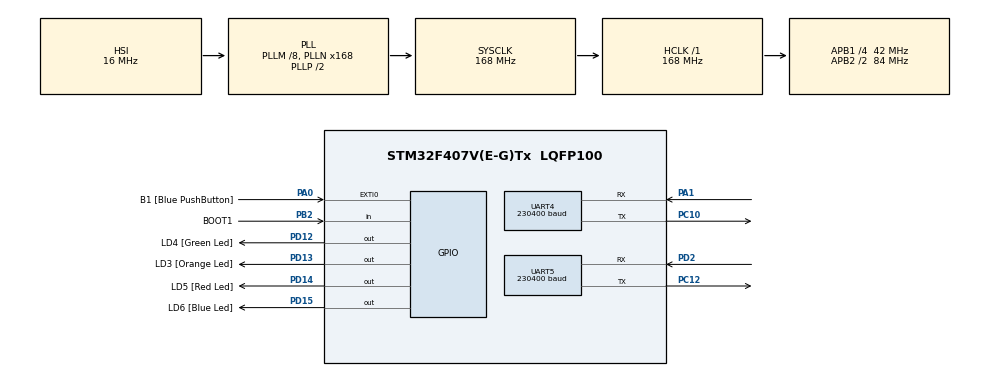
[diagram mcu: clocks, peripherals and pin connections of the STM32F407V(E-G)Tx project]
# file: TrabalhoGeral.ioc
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ADC1.Channel-0\#ChannelRegularConversion=ADC_CHANNEL_TEMPSENSOR
ADC1.Channel-1\#ChannelRegularConversion=ADC_CHANNEL_VREFINT
ADC1.ClockPrescaler=ADC_CLOCK_SYNC_PCLK_DIV4
ADC1.ContinuousConvMode=ENABLE
ADC1.DMAContinuousRequests=ENABLE
ADC1.NbrOfConversion=2
ADC1.NbrOfConversionFlag=1
ADC1.Rank-0\#ChannelRegularConversion=1
ADC1.Rank-1\#ChannelRegularConversion=2
ADC1.SamplingTime-0\#ChannelRegularConversion=ADC_SAMPLETIME_480CYCLES
ADC1.SamplingTime-1\#ChannelRegularConversion=ADC_SAMPLETIME_480CYCLES
ADC1.ScanConvMode=ENABLE
ADC1.master=1
Dma.ADC1.4.Direction=DMA_PERIPH_TO_MEMORY
Dma.ADC1.4.FIFOMode=DMA_FIFOMODE_DISABLE
Dma.ADC1.4.Instance=DMA2_Stream0
Dma.ADC1.4.MemDataAlignment=DMA_MDATAALIGN_HALFWORD
Dma.ADC1.4.MemInc=DMA_MINC_ENABLE
Dma.ADC1.4.Mode=DMA_CIRCULAR
Dma.ADC1.4.PeriphDataAlignment=DMA_PDATAALIGN_HALFWORD
Dma.ADC1.4.PeriphInc=DMA_PINC_DISABLE
Dma.ADC1.4.Priority=DMA_PRIORITY_LOW
Dma.Request0=UART4_RX
Dma.Request1=UART4_TX
Dma.Request2=UART5_RX
Dma.Request3=UART5_TX
Dma.Request4=ADC1
Dma.UART4_RX.0.Direction=DMA_PERIPH_TO_MEMORY
Dma.UART4_RX.0.FIFOMode=DMA_FIFOMODE_DISABLE
Dma.UART4_RX.0.Instance=DMA1_Stream2
Dma.UART4_RX.0.MemDataAlignment=DMA_MDATAALIGN_BYTE
Dma.UART4_RX.0.MemInc=DMA_MINC_ENABLE
Dma.UART4_RX.0.Mode=DMA_NORMAL
Dma.UART4_RX.0.PeriphDataAlignment=DMA_PDATAALIGN_BYTE
Dma.UART4_RX.0.PeriphInc=DMA_PINC_DISABLE
Dma.UART4_RX.0.Priority=DMA_PRIORITY_LOW
Dma.UART4_TX.1.Direction=DMA_MEMORY_TO_PERIPH
Dma.UART4_TX.1.FIFOMode=DMA_FIFOMODE_DISABLE
Dma.UART4_TX.1.Instance=DMA1_Stream4
Dma.UART4_TX.1.MemDataAlignment=DMA_MDATAALIGN_BYTE
Dma.UART4_TX.1.MemInc=DMA_MINC_ENABLE
Dma.UART4_TX.1.Mode=DMA_NORMAL
Dma.UART4_TX.1.PeriphDataAlignment=DMA_PDATAALIGN_BYTE
Dma.UART4_TX.1.PeriphInc=DMA_PINC_DISABLE
Dma.UART4_TX.1.Priority=DMA_PRIORITY_LOW
Dma.UART5_RX.2.Direction=DMA_PERIPH_TO_MEMORY
Dma.UART5_RX.2.FIFOMode=DMA_FIFOMODE_DISABLE
Dma.UART5_RX.2.Instance=DMA1_Stream0
Dma.UART5_RX.2.MemDataAlignment=DMA_MDATAALIGN_BYTE
Dma.UART5_RX.2.MemInc=DMA_MINC_ENABLE
Dma.UART5_RX.2.Mode=DMA_NORMAL
Dma.UART5_RX.2.PeriphDataAlignment=DMA_PDATAALIGN_BYTE
Dma.UART5_RX.2.PeriphInc=DMA_PINC_DISABLE
Dma.UART5_RX.2.Priority=DMA_PRIORITY_LOW
Dma.UART5_TX.3.Direction=DMA_MEMORY_TO_PERIPH
Dma.UART5_TX.3.FIFOMode=DMA_FIFOMODE_DISABLE
Dma.UART5_TX.3.Instance=DMA1_Stream7
Dma.UART5_TX.3.MemDataAlignment=DMA_MDATAALIGN_BYTE
Dma.UART5_TX.3.MemInc=DMA_MINC_ENABLE
Dma.UART5_TX.3.Mode=DMA_NORMAL
Dma.UART5_TX.3.PeriphDataAlignment=DMA_PDATAALIGN_BYTE
Dma.UART5_TX.3.PeriphInc=DMA_PINC_DISABLE
Dma.UART5_TX.3.Priority=DMA_PRIORITY_LOW
FREERTOS.Tasks01=defaultTask,8,128,StartDefaultTask,Default,NULL,Dynamic,NULL,NULL;periodic100hz,24,1024,periodic_task,Default,NULL,Dynamic,NULL,NULL;buttonHandler,16,1024,button_task,Default,NULL,Dynamic,NULL,NULL;asynchronousR,32,1024,asynchronousR_task,Default,NULL,Dynamic,NULL,NULL;asynchronousL,40,1024,asynchronousL_task,Default,NULL,Dynamic,NULL,NULL
FREERTOS.configCHECK_FOR_STACK_OVERFLOW=2
FREERTOS.configTOTAL_HEAP_SIZE=20000
FREERTOS.configUSE_MALLOC_FAILED_HOOK=1
FREERTOS.configUSE_NEWLIB_REENTRANT=1
Mcu.Family=STM32F4
Mcu.Name=STM32F407V(E-G)Tx
Mcu.Package=LQFP100
NVIC.DMA1_Stream0_IRQn=true\:5\:0\:false\:false\:true\:true\:false\:true\:true
NVIC.DMA1_Stream2_IRQn=true\:5\:0\:false\:false\:true\:true\:false\:true\:true
NVIC.DMA1_Stream4_IRQn=true\:5\:0\:false\:false\:true\:true\:false\:true\:true
NVIC.DMA1_Stream7_IRQn=true\:5\:0\:false\:false\:true\:true\:false\:true\:true
NVIC.DMA2_Stream0_IRQn=true\:5\:0\:false\:false\:true\:true\:false\:true\:true
NVIC.EXTI0_IRQn=true\:5\:0\:false\:false\:true\:true\:true\:true\:true
NVIC.PriorityGroup=NVIC_PRIORITYGROUP_4
NVIC.TIM6_DAC_IRQn=true\:15\:0\:false\:false\:true\:false\:false\:true\:true
NVIC.TimeBase=TIM6_DAC_IRQn
NVIC.TimeBaseIP=TIM6
NVIC.UART4_IRQn=true\:5\:0\:false\:false\:true\:true\:true\:true\:true
NVIC.UART5_IRQn=true\:5\:0\:false\:false\:true\:true\:true\:true\:true
PA0-WKUP.GPIO_Label=B1 [Blue PushButton]
PA0-WKUP.Signal=GPXTI0
PA1.Mode=Asynchronous
PA1.Signal=UART4_RX
PA13.GPIO_Label=SWDIO
PA13.Signal=SYS_JTMS-SWDIO
PA14.GPIO_Label=SWCLK
PA14.Signal=SYS_JTCK-SWCLK
PB2.GPIO_Label=BOOT1
PB2.GPIO_Mode=GPIO_MODE_INPUT
PB2.GPIO_PuPd=GPIO_NOPULL
PB2.Signal=GPIO_Input
PC10.Mode=Asynchronous
PC10.Signal=UART4_TX
PC12.Mode=Asynchronous
PC12.Signal=UART5_TX
PD12.GPIO_Label=LD4 [Green Led]
PD12.GPIO_PuPd=GPIO_NOPULL
PD12.GPIO_Speed=GPIO_SPEED_FREQ_LOW
PD12.Signal=GPIO_Output
PD13.GPIO_Label=LD3 [Orange Led]
PD13.GPIO_PuPd=GPIO_NOPULL
PD13.GPIO_Speed=GPIO_SPEED_FREQ_LOW
PD13.Signal=GPIO_Output
PD14.GPIO_Label=LD5 [Red Led]
PD14.GPIO_PuPd=GPIO_NOPULL
PD14.GPIO_Speed=GPIO_SPEED_FREQ_LOW
PD14.Signal=GPIO_Output
PD15.GPIO_Label=LD6 [Blue Led]
PD15.GPIO_PuPd=GPIO_NOPULL
PD15.GPIO_Speed=GPIO_SPEED_FREQ_LOW
PD15.Signal=GPIO_Output
PD2.Mode=Asynchronous
PD2.Signal=UART5_RX
ProjectManager.HeapSize=0x200
ProjectManager.StackSize=0x400
ProjectManager.TargetToolchain=STM32CubeIDE
RCC.48MHZClocksFreq_Value=48000000
RCC.AHBFreq_Value=168000000
RCC.APB1CLKDivider=RCC_HCLK_DIV4
RCC.APB1Freq_Value=42000000
RCC.APB1TimFreq_Value=84000000
RCC.APB2CLKDivider=RCC_HCLK_DIV2
RCC.APB2Freq_Value=84000000
RCC.APB2TimFreq_Value=168000000
RCC.CortexFreq_Value=168000000
RCC.HCLKFreq_Value=168000000
RCC.HSE_VALUE=8000000
RCC.HSI_VALUE=16000000
RCC.LSE_VALUE=32768
RCC.PLLM=8
RCC.PLLN=168
RCC.PLLQ=7
RCC.SYSCLKFreq_VALUE=168000000
RCC.SYSCLKSource=RCC_SYSCLKSOURCE_PLLCLK
RCC.VCOOutputFreq_Value=336000000
UART4.BaudRate=230400
UART4.VirtualMode=Asynchronous
UART5.BaudRate=230400
UART5.VirtualMode=Asynchronous
VP_ADC1_TempSens_Input.Mode=IN-TempSens
VP_ADC1_Vref_Input.Mode=IN-Vrefint
VP_FREERTOS_VS_CMSIS_V2.Mode=CMSIS_V2
VP_SYS_VS_tim6.Mode=TIM6
board=STM32F407G-DISC1

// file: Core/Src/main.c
/* USER CODE BEGIN Header */
/**
  ******************************************************************************
  * @file           : main.c
  * @brief          : Main program body
  ******************************************************************************
  * @attention
  *
  * Copyright (c) 2023 STMicroelectronics.
  * All rights reserved.
  *
  * This software is licensed under terms that can be found in the LICENSE file
  * in the root directory of this software component.
  * If no LICENSE file comes with this software, it is provided AS-IS.
  *
  ******************************************************************************
  */
/* USER CODE END Header */
#include "main.h"
#include "cmsis_os.h"
#include "adc.h"
#include "dma.h"
#include "usart.h"
#include "gpio.h"

/* USER CODE BEGIN Includes */
#include "Uart.h"
#include "Sensor.h"
#include "Button.h"
/* USER CODE END Includes */

void SystemClock_Config(void);
void MX_FREERTOS_Init(void);

int main(void)
{

  /* MCU Configuration--------------------------------------------------------*/

  /* Reset of all peripherals, Initializes the Flash interface and the Systick. */
  HAL_Init();

  /* Configure the system clock */
  SystemClock_Config();

  /* Initialize all configured peripherals */
  MX_GPIO_Init();
  MX_DMA_Init();
  MX_UART4_Init();
  MX_UART5_Init();
  MX_ADC1_Init();
  /* USER CODE BEGIN 2 */
  Uart_init(&uartLeft);
  Uart_init(&uartRight);

  // inicialização rotinas sensor
  Sensor_Init();
  Button_Init();
  // inicialização DMA para o ADC1
  HAL_ADC_Start_DMA(&hadc1, (uint32_t *)adc_reads, 2);

  /* USER CODE END 2 */

  /* Init scheduler */
  osKernelInitialize();  /* Call init function for freertos objects (in freertos.c) */
  MX_FREERTOS_Init();

  /* Start scheduler */
  osKernelStart();
  /* We should never get here as control is now taken by the scheduler */
  /* Infinite loop */
  while (1)
  {

  }
}

void SystemClock_Config(void)
{
  RCC_OscInitTypeDef RCC_OscInitStruct = {0};
  RCC_ClkInitTypeDef RCC_ClkInitStruct = {0};

  /** Configure the main internal regulator output voltage
  */
  __HAL_RCC_PWR_CLK_ENABLE();
  __HAL_PWR_VOLTAGESCALING_CONFIG(PWR_REGULATOR_VOLTAGE_SCALE1);

  /** Initializes the RCC Oscillators according to the specified parameters
  * in the RCC_OscInitTypeDef structure.
  */
  RCC_OscInitStruct.OscillatorType = RCC_OSCILLATORTYPE_HSI;
  RCC_OscInitStruct.HSIState = RCC_HSI_ON;
  RCC_OscInitStruct.HSICalibrationValue = RCC_HSICALIBRATION_DEFAULT;
  RCC_OscInitStruct.PLL.PLLState = RCC_PLL_ON;
  RCC_OscInitStruct.PLL.PLLSource = RCC_PLLSOURCE_HSI;
  RCC_OscInitStruct.PLL.PLLM = 8;
  RCC_OscInitStruct.PLL.PLLN = 168;
  RCC_OscInitStruct.PLL.PLLP = RCC_PLLP_DIV2;
  RCC_OscInitStruct.PLL.PLLQ = 7;
  if (HAL_RCC_OscConfig(&RCC_OscInitStruct) != HAL_OK)
  {
    Error_Handler();
  }

  /** Initializes the CPU, AHB and APB buses clocks
  */
  RCC_ClkInitStruct.ClockType = RCC_CLOCKTYPE_HCLK|RCC_CLOCKTYPE_SYSCLK
                              |RCC_CLOCKTYPE_PCLK1|RCC_CLOCKTYPE_PCLK2;
  RCC_ClkInitStruct.SYSCLKSource = RCC_SYSCLKSOURCE_PLLCLK;
  RCC_ClkInitStruct.AHBCLKDivider = RCC_SYSCLK_DIV1;
  RCC_ClkInitStruct.APB1CLKDivider = RCC_HCLK_DIV4;
  RCC_ClkInitStruct.APB2CLKDivider = RCC_HCLK_DIV2;

  if (HAL_RCC_ClockConfig(&RCC_ClkInitStruct, FLASH_LATENCY_5) != HAL_OK)
  {
    Error_Handler();
  }
}

void HAL_TIM_PeriodElapsedCallback(TIM_HandleTypeDef *htim)
{
  if (htim->Instance == TIM6) {
    HAL_IncTick();
  }
}

void Error_Handler(void)
{
  __disable_irq();
  while (1)
  {
  }
}

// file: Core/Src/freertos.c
/* USER CODE BEGIN Header */
/**
  ******************************************************************************
  * File Name          : freertos.c
  * Description        : Code for freertos applications
  ******************************************************************************
  * @attention
  *
  * Copyright (c) 2023 STMicroelectronics.
  * All rights reserved.
  *
  * This software is licensed under terms that can be found in the LICENSE file
  * in the root directory of this software component.
  * If no LICENSE file comes with this software, it is provided AS-IS.
  *
  ******************************************************************************
  */
/* USER CODE END Header */

#include "FreeRTOS.h"
#include "task.h"
#include "main.h"
#include "cmsis_os.h"

/* USER CODE BEGIN Includes */
#include "Uart.h"
#include "Sensor.h"
#include "Button.h"

/* USER CODE END Includes */

/* USER CODE BEGIN Variables */
float temperature = 0;

/* USER CODE END Variables */
/* Definitions for defaultTask */
osThreadId_t defaultTaskHandle;
const osThreadAttr_t defaultTask_attributes = {
  .name = "defaultTask",
  .stack_size = 128 * 4,
  .priority = (osPriority_t) osPriorityLow,
};
/* Definitions for periodic100hz */
osThreadId_t periodic100hzHandle;
const osThreadAttr_t periodic100hz_attributes = {
  .name = "periodic100hz",
  .stack_size = 1024 * 4,
  .priority = (osPriority_t) osPriorityBelowNormal,
};
/* Definitions for buttonHandler */
osThreadId_t buttonHandlerHandle;
const osThreadAttr_t buttonHandler_attributes = {
  .name = "buttonHandler",
  .stack_size = 1024 * 4,
  .priority = (osPriority_t) osPriorityNormal,
};
/* Definitions for asynchronousR */
osThreadId_t asynchronousRHandle;
const osThreadAttr_t asynchronousR_attributes = {
  .name = "asynchronousR",
  .stack_size = 1024 * 4,
  .priority = (osPriority_t) osPriorityAboveNormal,
};
/* Definitions for asynchronousL */
osThreadId_t asynchronousLHandle;
const osThreadAttr_t asynchronousL_attributes = {
  .name = "asynchronousL",
  .stack_size = 1024 * 4,
  .priority = (osPriority_t) osPriorityHigh,
};

void StartDefaultTask(void *argument);
void periodic_task(void *argument);
void button_task(void *argument);
void asynchronousR_task(void *argument);
void asynchronousL_task(void *argument);

void MX_FREERTOS_Init(void); /* (MISRA C 2004 rule 8.1) */

/* Hook prototypes */
void vApplicationStackOverflowHook(xTaskHandle xTask, signed char *pcTaskName);
void vApplicationMallocFailedHook(void);

/* USER CODE BEGIN 4 */
void vApplicationStackOverflowHook(xTaskHandle xTask, signed char *pcTaskName)
{
   /* Run time stack overflow checking is performed if
   configCHECK_FOR_STACK_OVERFLOW is defined to 1 or 2. This hook function is
   called if a stack overflow is detected. */
	__disable_irq();
	while(1);
}
/* USER CODE END 4 */

/* USER CODE BEGIN 5 */
void vApplicationMallocFailedHook(void)
{
   /* vApplicationMallocFailedHook() will only be called if
   configUSE_MALLOC_FAILED_HOOK is set to 1 in FreeRTOSConfig.h. It is a hook
   function that will get called if a call to pvPortMalloc() fails.
   pvPortMalloc() is called internally by the kernel whenever a task, queue,
   timer or semaphore is created. It is also called by various parts of the
   demo application. If heap_1.c or heap_2.c are used, then the size of the
   heap available to pvPortMalloc() is defined by configTOTAL_HEAP_SIZE in
   FreeRTOSConfig.h, and the xPortGetFreeHeapSize() API function can be used
   to query the size of free heap space that remains (although it does not
   provide information on how the remaining heap might be fragmented). */
	__disable_irq();
	while(1);
}
/* USER CODE END 5 */

void MX_FREERTOS_Init(void) {

  /* Create the thread(s) */
  /* creation of defaultTask */
  defaultTaskHandle = osThreadNew(StartDefaultTask, NULL, &defaultTask_attributes);

  /* creation of periodic100hz */
  periodic100hzHandle = osThreadNew(periodic_task, NULL, &periodic100hz_attributes);

  /* creation of buttonHandler */
  buttonHandlerHandle = osThreadNew(button_task, NULL, &buttonHandler_attributes);

  /* creation of asynchronousR */
  asynchronousRHandle = osThreadNew(asynchronousR_task, NULL, &asynchronousR_attributes);

  /* creation of asynchronousL */
  asynchronousLHandle = osThreadNew(asynchronousL_task, NULL, &asynchronousL_attributes);

}

void StartDefaultTask(void *argument)
{
  /* USER CODE BEGIN StartDefaultTask */

	while (1) {
		vTaskDelay(10000);
	}
  /* USER CODE END StartDefaultTask */
}

void periodic_task(void *argument)
{
  /* USER CODE BEGIN periodic_task */
	float temperature = 0;

	Telegram tmpTelegram = {0};
	TickType_t xLastWakeTime;
	const TickType_t xPeriod = 10; // In ticks

	xLastWakeTime = xTaskGetTickCount();

	while(1) {
		//Espera os 10ms (100hz)
		vTaskDelayUntil( &xLastWakeTime, xPeriod );

		// Leitura do valor de temperatura
		Sensor_Read(&temperature);

		// Preenche o telegrama
		Erro erro = criarStruct(&tmpTelegram, 4, temperature); // TODO KELVIN
		if (erro == ERRO_OK) {
      // Envia o valor pra direita somente, pois é o sentido do display.
			Uart_startTx(&uartRight, &tmpTelegram);
		};
	}
  /* USER CODE END periodic_task */
}

void button_task(void *argument)
{
  /* USER CODE BEGIN button_task */
	Telegram tmpTelegram = {0};

	float temperature = 0;

	while(1) {
		//Espera até o botão ser apertado
		if (Button_Wait()) {
			// Lê o adc
			Sensor_Read(&temperature);
			// Preenche o telegrama
			Erro erro = criarStruct(&tmpTelegram, 4, temperature); // TODO KELVIN
			if (erro == ERRO_OK) {
				// Envia o valor pra direita somente, pois é o sentido do display.
				Uart_startTx(&uartRight, &tmpTelegram);
			};
    }
	}
  /* USER CODE END button_task */
}

/* USER CODE BEGIN Header_asynchronousR_task */
/**
* @brief Function implementing the asynchronousR thread.
* 			Responsável por tratar todos os telegramas recebidos da uart da direita,
* 			que está ligada ao EV (display)
* @param argument: Not used
* @retval None
*/
/* USER CODE END Header_asynchronousR_task */
void asynchronousR_task(void *argument)
{
  /* USER CODE BEGIN asynchronousR_task */
	float temperature = 0;

 	Telegram tmpTelegram = {0};

	while(1) {
		//Espera até receber um telegrama válido na uart
		Uart_waitEvent(&uartRight, UartEvent_rxComplete, portMAX_DELAY);

		// Assim que o evento for recebido, verifica se é um broadcast
		// (tem que ser broadcast, se não alguém está fazendo coisa errada, mas é bom verificar)

		if (uartRight.rxBuffer.id != Requisition) {
			// Alguém fez algo errado, apenas ignora a mensagem
			continue;
		}

		// Se o ID é de requisição do EV (display), então: (da pra mudar a ordem, deixei assim pq é melhor pra nós)
		// 1º Faz a leitura dos dados e retorna para o valor para o EV (que está em alguma posição na direita).
		// 2º Rapassa a requisição para os dispositivos à esquerda

		// Lê o adc
		Sensor_Read(&temperature);

    // Preenche o telegrama
    Erro erro = criarStruct(&tmpTelegram, 4, temperature); // TODO KELVIN
		if (erro == ERRO_OK) {
      // Envia o valor pra direita somente, pois é o sentido do display.
			Uart_startTx(&uartRight, &tmpTelegram);
		};

		vTaskDelay(1);

		// Repassa o telegram para a esquerda
		tmpTelegram.id = 255;	// Só precisa atualizar o id, o resto é dont care
		Uart_startTx(&uartLeft, &tmpTelegram);
	}
  /* USER CODE END asynchronousR_task */
}

/* USER CODE BEGIN Header_asynchronousL_task */
/**
* @brief Function implementing the asynchronousL thread.
* 			Responsável por tratar todos os telegramas recebidos da uart da esquerda,
* 			que não está ligada ao EV (display)
*
* 			Essa task poderia estar totalmente implementada n
* @param argument: Not used
* @retval None
*/
/* USER CODE END Header_asynchronousL_task */
void asynchronousL_task(void *argument)
{
  /* USER CODE BEGIN asynchronousL_task */

	while(1) {
		//Espera até receber um telegrama válido na uart
		Uart_waitEvent(&uartLeft, UartEvent_rxComplete, portMAX_DELAY);

		// Assim que o evento for recebido, repassa o que foi recebido na uart da esquerda para
		// a uart da direita.
		// Só precisamos repassar, pois nunca vai ter uma requisição vindo da esquerda.
		Uart_startTx(&uartRight, &uartLeft.rxBuffer);
    }
  /* USER CODE END asynchronousL_task */
}
